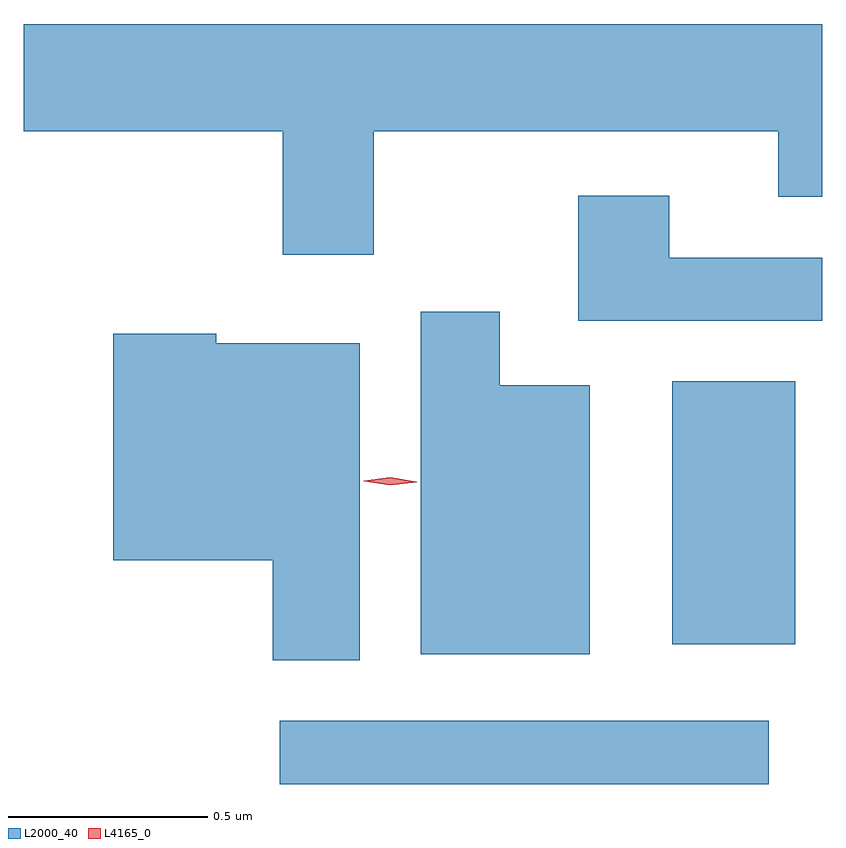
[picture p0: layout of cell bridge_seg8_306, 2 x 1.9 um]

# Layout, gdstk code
import gdstk
lib = gdstk.Library(unit=1e-6, precision=1e-09)
def R(c, l, rs):  # rectangles x0, y0, x1, y1
    for r in rs: c.add(gdstk.rectangle(r[:2], r[2:], *l))
def P(c, l, *ps):  # polygons
    for p in ps: c.add(gdstk.Polygon(p, *l))
L2000_40 = (2000, 40)
L4165_0 = (4165, 0)

bridge_seg8_306 = lib.new_cell('bridge_seg8_306')
R(bridge_seg8_306, L2000_40, [(1411.153,1841.441,1412.378,1841.599), (1412.136,1841.791,1412.444,1842.449)])
P(bridge_seg8_306, L2000_40, [(1411.389,1843.076),(1412.401,1843.076),(1412.401,1842.911),(1412.512,1842.911),(1412.512,1843.344),(1410.512,1843.344),(1410.512,1843.076),(1411.161,1843.076),(1411.161,1842.766),(1411.389,1842.766)],
  [(1412.512,1842.759),(1412.129,1842.759),(1412.129,1842.914),(1411.901,1842.914),(1411.901,1842.601),(1412.512,1842.601)],
  [(1411.929,1842.439),(1411.704,1842.439),(1411.704,1842.624),(1411.506,1842.624),(1411.506,1841.766),(1411.929,1841.766)],
  [(1411.354,1842.544),(1410.994,1842.544),(1410.994,1842.569),(1410.736,1842.569),(1410.736,1842.001),(1411.136,1842.001),(1411.136,1841.751),(1411.354,1841.751)])
P(bridge_seg8_306, L4165_0, [(1411.43,1842.189),(1411.364,1842.199),(1411.364,1842.199),(1411.364,1842.2),(1411.43,1842.209),(1411.496,1842.198),(1411.496,1842.198),(1411.496,1842.197)])

lib.write_gds('bridge_seg8_306.gds')
